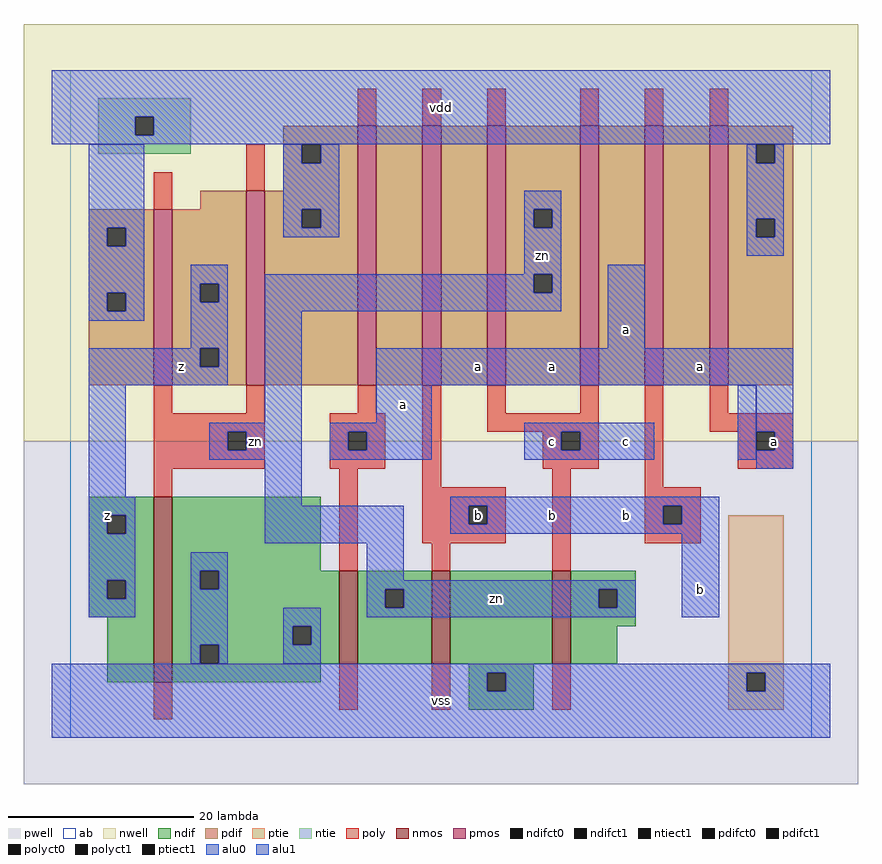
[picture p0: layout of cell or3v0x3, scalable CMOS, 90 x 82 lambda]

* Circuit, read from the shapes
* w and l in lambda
.subckt or3v0x3 a b c vdd vss z zn
M1 vss zn z vss nfet w=20 l=2
M2 zn a vss vss nfet w=10 l=2
M3 vss b zn vss nfet w=10 l=2
M4 zn c vss vss nfet w=10 l=2
M5 z zn vdd vdd pfet w=19 l=2
M6 vdd zn z vdd pfet w=21 l=2
M7 n1 a vdd vdd pfet w=28 l=2
M8 n2 b n1 vdd pfet w=28 l=2
M9 zn c n2 vdd pfet w=28 l=2
M10 n3 c zn vdd pfet w=28 l=2
M11 n4 b n3 vdd pfet w=28 l=2
M12 vdd a n4 vdd pfet w=28 l=2
.ends

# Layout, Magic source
magic
tech scmos
<< ab >>
rect 0 0 80 72
<< nwell >>
rect -5 32 85 77
<< pwell >>
rect -5 -5 85 32
<< poly >>
rect 31 66 33 70
rect 38 66 40 70
rect 45 66 47 70
rect 55 66 57 70
rect 62 66 64 70
rect 69 66 71 70
rect 9 57 11 61
rect 19 59 21 64
rect 9 35 11 38
rect 19 35 21 38
rect 31 35 33 38
rect 9 33 21 35
rect 9 31 17 33
rect 19 31 21 33
rect 9 29 21 31
rect 28 33 34 35
rect 28 31 30 33
rect 32 31 34 33
rect 28 29 34 31
rect 9 26 11 29
rect 29 18 31 29
rect 38 27 40 38
rect 45 35 47 38
rect 55 35 57 38
rect 45 33 57 35
rect 51 31 53 33
rect 55 31 57 33
rect 51 29 57 31
rect 38 25 47 27
rect 38 23 43 25
rect 45 23 47 25
rect 38 21 47 23
rect 39 18 41 21
rect 52 18 54 29
rect 62 27 64 38
rect 69 35 71 38
rect 69 33 78 35
rect 72 31 74 33
rect 76 31 78 33
rect 72 29 78 31
rect 62 25 68 27
rect 62 23 64 25
rect 66 23 68 25
rect 62 21 68 23
rect 9 2 11 6
rect 29 3 31 8
rect 39 3 41 8
rect 52 3 54 8
<< ndif >>
rect 2 24 9 26
rect 2 22 4 24
rect 6 22 9 24
rect 2 17 9 22
rect 2 15 4 17
rect 6 15 9 17
rect 2 13 9 15
rect 4 6 9 13
rect 11 18 27 26
rect 11 16 14 18
rect 16 16 29 18
rect 11 12 29 16
rect 11 10 24 12
rect 26 10 29 12
rect 11 8 14 10
rect 16 8 29 10
rect 31 16 39 18
rect 31 14 34 16
rect 36 14 39 16
rect 31 8 39 14
rect 41 8 52 18
rect 54 16 61 18
rect 54 14 57 16
rect 59 14 61 16
rect 54 12 61 14
rect 54 8 59 12
rect 11 6 27 8
rect 43 7 50 8
rect 43 5 45 7
rect 47 5 50 7
rect 43 3 50 5
<< pdif >>
rect 23 64 31 66
rect 23 62 25 64
rect 27 62 31 64
rect 23 59 31 62
rect 14 57 19 59
rect 2 55 9 57
rect 2 53 4 55
rect 6 53 9 55
rect 2 48 9 53
rect 2 46 4 48
rect 6 46 9 48
rect 2 38 9 46
rect 11 49 19 57
rect 11 47 14 49
rect 16 47 19 49
rect 11 42 19 47
rect 11 40 14 42
rect 16 40 19 42
rect 11 38 19 40
rect 21 57 31 59
rect 21 55 25 57
rect 27 55 31 57
rect 21 38 31 55
rect 33 38 38 66
rect 40 38 45 66
rect 47 57 55 66
rect 47 55 50 57
rect 52 55 55 57
rect 47 50 55 55
rect 47 48 50 50
rect 52 48 55 50
rect 47 38 55 48
rect 57 38 62 66
rect 64 38 69 66
rect 71 64 78 66
rect 71 62 74 64
rect 76 62 78 64
rect 71 56 78 62
rect 71 54 74 56
rect 76 54 78 56
rect 71 38 78 54
<< alu1 >>
rect -2 67 82 72
rect -2 65 7 67
rect 9 65 82 67
rect -2 64 82 65
rect 13 49 17 51
rect 13 47 14 49
rect 16 47 17 49
rect 13 42 17 47
rect 2 40 14 42
rect 16 40 17 42
rect 2 38 17 40
rect 2 26 6 38
rect 58 42 62 51
rect 33 38 78 42
rect 33 34 39 38
rect 28 33 39 34
rect 28 31 30 33
rect 32 31 39 33
rect 28 30 39 31
rect 49 33 63 34
rect 49 31 53 33
rect 55 31 63 33
rect 49 30 63 31
rect 74 33 78 38
rect 76 31 78 33
rect 2 24 7 26
rect 2 22 4 24
rect 6 22 7 24
rect 2 17 7 22
rect 74 29 78 31
rect 41 25 70 26
rect 41 23 43 25
rect 45 23 64 25
rect 66 23 70 25
rect 41 22 70 23
rect 2 15 4 17
rect 6 15 7 17
rect 2 13 7 15
rect 66 13 70 22
rect -2 7 82 8
rect -2 5 45 7
rect 47 5 73 7
rect 75 5 82 7
rect -2 0 82 5
<< ptie >>
rect 71 7 77 24
rect 71 5 73 7
rect 75 5 77 7
rect 71 3 77 5
<< ntie >>
rect 3 67 13 69
rect 3 65 7 67
rect 9 65 13 67
rect 3 63 13 65
<< nmos >>
rect 9 6 11 26
rect 29 8 31 18
rect 39 8 41 18
rect 52 8 54 18
<< pmos >>
rect 9 38 11 57
rect 19 38 21 59
rect 31 38 33 66
rect 38 38 40 66
rect 45 38 47 66
rect 55 38 57 66
rect 62 38 64 66
rect 69 38 71 66
<< polyct0 >>
rect 17 31 19 33
<< polyct1 >>
rect 30 31 32 33
rect 53 31 55 33
rect 43 23 45 25
rect 74 31 76 33
rect 64 23 66 25
<< ndifct0 >>
rect 14 16 16 18
rect 24 10 26 12
rect 14 8 16 10
rect 34 14 36 16
rect 57 14 59 16
<< ndifct1 >>
rect 4 22 6 24
rect 4 15 6 17
rect 45 5 47 7
<< ntiect1 >>
rect 7 65 9 67
<< ptiect1 >>
rect 73 5 75 7
<< pdifct0 >>
rect 25 62 27 64
rect 4 53 6 55
rect 4 46 6 48
rect 25 55 27 57
rect 50 55 52 57
rect 50 48 52 50
rect 74 62 76 64
rect 74 54 76 56
<< pdifct1 >>
rect 14 47 16 49
rect 14 40 16 42
<< alu0 >>
rect 2 55 8 64
rect 2 53 4 55
rect 6 53 8 55
rect 23 62 25 64
rect 27 62 29 64
rect 23 57 29 62
rect 73 62 74 64
rect 76 62 77 64
rect 23 55 25 57
rect 27 55 29 57
rect 23 54 29 55
rect 49 57 53 59
rect 49 55 50 57
rect 52 55 53 57
rect 2 48 8 53
rect 2 46 4 48
rect 6 46 8 48
rect 2 45 8 46
rect 49 50 53 55
rect 73 56 77 62
rect 73 54 74 56
rect 76 54 77 56
rect 73 52 77 54
rect 21 48 50 50
rect 52 48 53 50
rect 21 46 53 48
rect 21 34 25 46
rect 15 33 25 34
rect 15 31 17 33
rect 19 31 25 33
rect 15 30 25 31
rect 72 30 74 38
rect 21 25 25 30
rect 21 21 36 25
rect 13 18 17 20
rect 13 16 14 18
rect 16 16 17 18
rect 13 10 17 16
rect 32 17 36 21
rect 32 16 61 17
rect 32 14 34 16
rect 36 14 57 16
rect 59 14 61 16
rect 13 8 14 10
rect 16 8 17 10
rect 23 12 27 14
rect 32 13 61 14
rect 23 10 24 12
rect 26 10 27 12
rect 23 8 27 10
<< labels >>
rlabel alu0 20 32 20 32 6 zn
rlabel alu0 51 52 51 52 6 zn
rlabel alu0 46 15 46 15 6 zn
rlabel alu1 4 24 4 24 6 z
rlabel alu1 12 40 12 40 6 z
rlabel alu1 36 36 36 36 6 a
rlabel alu1 40 4 40 4 6 vss
rlabel polyct1 44 24 44 24 6 b
rlabel alu1 52 24 52 24 6 b
rlabel alu1 52 32 52 32 6 c
rlabel alu1 52 40 52 40 6 a
rlabel alu1 44 40 44 40 6 a
rlabel alu1 40 68 40 68 6 vdd
rlabel alu1 68 16 68 16 6 b
rlabel alu1 60 24 60 24 6 b
rlabel alu1 60 32 60 32 6 c
rlabel alu1 76 32 76 32 6 a
rlabel alu1 68 40 68 40 6 a
rlabel alu1 60 44 60 44 6 a
<< end >>
